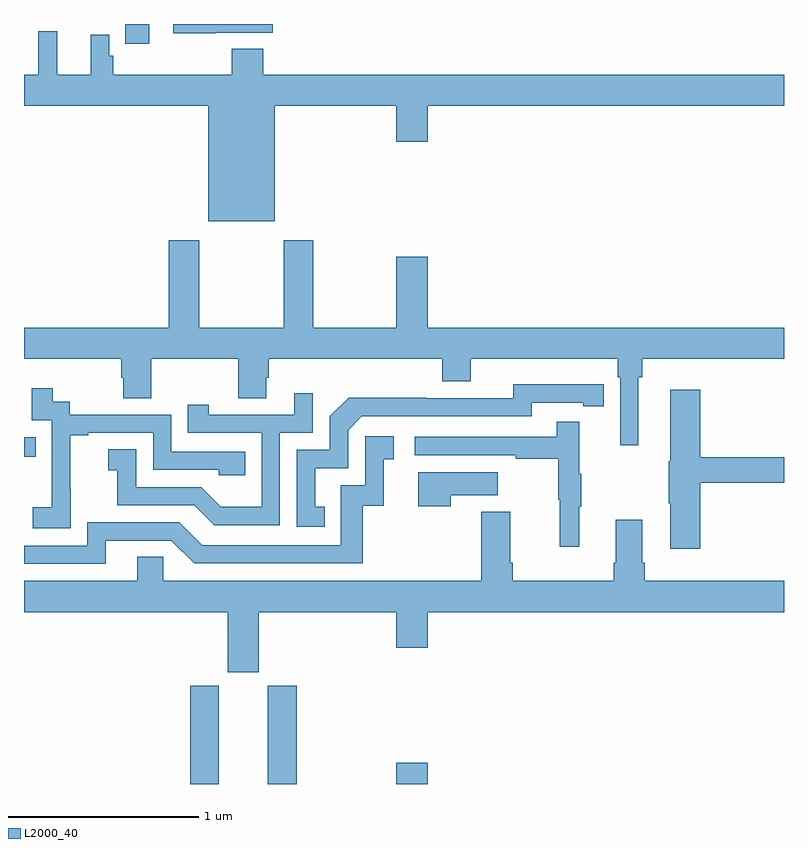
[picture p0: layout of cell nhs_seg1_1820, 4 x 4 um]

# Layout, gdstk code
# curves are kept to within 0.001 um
import gdstk
lib = gdstk.Library(unit=1e-6, precision=1e-09)
def R(c, l, rs):  # rectangles x0, y0, x1, y1
    for r in rs: c.add(gdstk.rectangle(r[:2], r[2:], *l))
def P(c, l, *ps):  # polygons
    for p in ps: c.add(gdstk.Polygon(p, *l))
L2000_40 = (2000, 40)

nhs_seg1_1820 = lib.new_cell('nhs_seg1_1820')
R(nhs_seg1_1820, L2000_40, [(211.874,512.199,212.026,512.715), (212.282,512.199,212.435,512.715), (212.96,512.199,213.124,512.311), (211,513.922,211.061,514.023), (211.534,516.096,211.66,516.199)])
P(nhs_seg1_1820, L2000_40, [(212.009,516.153),(212.309,516.153),(212.309,516.199),(211.785,516.199),(211.785,516.151),(212.009,516.151)],
  [(212.32,515.768),(212.96,515.768),(212.96,515.58),(213.124,515.58),(213.124,515.768),(215,515.768),(215,515.932),(212.258,515.932),(212.258,516.068),(212.093,516.068),(212.093,515.932),(211.469,515.932),(211.469,516.033),(211.449,516.033),(211.449,516.142),(211.352,516.142),(211.352,515.932),(211.175,515.932),(211.175,516.16),(211.076,516.16),(211.076,515.932),(211,515.932),(211,515.768),(211.97,515.768),(211.97,515.162),(212.32,515.162)],
  [(214.234,514.34),(214.253,514.34),(214.253,514.436),(215,514.436),(215,514.6),(213.124,514.6),(213.124,514.975),(212.96,514.975),(212.96,514.6),(212.523,514.6),(212.523,515.062),(212.368,515.062),(212.368,514.6),(211.923,514.6),(211.923,515.062),(211.763,515.062),(211.763,514.6),(211,514.6),(211,514.436),(211.511,514.436),(211.511,514.338),(211.523,514.338),(211.523,514.228),(211.671,514.228),(211.671,514.436),(212.128,514.436),(212.128,514.228),(212.275,514.228),(212.275,514.338),(212.288,514.338),(212.288,514.436),(213.2,514.436),(213.2,514.319),(213.352,514.319),(213.352,514.436),(214.124,514.436),(214.124,514.34),(214.137,514.34),(214.137,513.981),(214.234,513.981)],
  [(212.582,513.657),(212.533,513.657),(212.533,513.861),(212.706,513.861),(212.706,514.062),(212.778,514.134),(213.672,514.134),(213.672,514.206),(213.944,514.206),(213.944,514.186),(214.052,514.186),(214.052,514.302),(213.576,514.303),(213.576,514.23),(213.116,514.23),(213.116,514.232),(212.708,514.232),(212.61,514.134),(212.61,513.957),(212.436,513.957),(212.436,513.552),(212.582,513.552)],
  [(211.245,513.751),(211.244,513.751),(211.244,514.035),(211.339,514.035),(211.339,514.047),(211.68,514.047),(211.68,513.852),(212.025,513.852),(212.025,513.825),(212.165,513.825),(212.165,513.948),(211.776,513.948),(211.776,514.143),(211.242,514.143),(211.242,514.212),(211.15,514.212),(211.15,514.282),(211.041,514.282),(211.041,514.113),(211.146,514.113),(211.146,513.884),(211.145,513.884),(211.145,513.655),(211.047,513.655),(211.047,513.545),(211.245,513.545)],
  [(214.559,513.784),(215,513.784),(215,513.92),(214.559,513.92),(214.559,514.273),(214.4,514.273),(214.4,513.897),(214.393,513.897),(214.393,513.676),(214.4,513.676),(214.4,513.438),(214.559,513.438)],
  [(212.346,514.047),(212.52,514.047),(212.52,514.255),(212.423,514.255),(212.423,514.143),(211.972,514.143),(211.972,514.195),(211.861,514.195),(211.861,514.047),(212.25,514.047),(212.25,513.658),(212.036,513.658),(211.932,513.762),(211.59,513.762),(211.59,513.961),(211.443,513.961),(211.443,513.851),(211.492,513.851),(211.492,513.666),(211.895,513.666),(212,513.561),(212.346,513.561)],
  [(213.923,513.659),(213.934,513.659),(213.934,513.833),(213.923,513.833),(213.923,514.105),(213.805,514.105),(213.805,514.026),(213.057,514.026),(213.057,513.93),(213.589,513.93),(213.589,513.91),(213.813,513.91),(213.813,513.696),(213.82,513.696),(213.82,513.447),(213.923,513.447)],
  [(211.429,513.48),(211.776,513.48),(211.896,513.36),(212.783,513.36),(212.783,513.663),(212.894,513.663),(212.894,513.909),(212.947,513.909),(212.947,514.03),(212.796,514.03),(212.796,513.771),(212.667,513.771),(212.667,513.456),(211.938,513.456),(211.818,513.576),(211.332,513.576),(211.332,513.453),(211,513.453),(211,513.357),(211.429,513.357)],
  [(213.245,513.719),(213.493,513.719),(213.493,513.841),(213.074,513.841),(213.074,513.66),(213.245,513.66)],
  [(215,513.268),(214.268,513.268),(214.268,513.364),(214.255,513.364),(214.255,513.589),(214.115,513.589),(214.115,513.364),(214.103,513.364),(214.103,513.268),(213.572,513.268),(213.572,513.364),(213.559,513.364),(213.559,513.631),(213.407,513.631),(213.407,513.268),(211.734,513.268),(211.734,513.395),(211.595,513.395),(211.595,513.268),(211,513.268),(211,513.104),(212.072,513.104),(212.072,512.787),(212.236,512.787),(212.236,513.104),(212.96,513.104),(212.96,512.916),(213.124,512.916),(213.124,513.104),(215,513.104)])

lib.write_gds('nhs_seg1_1820.gds')
